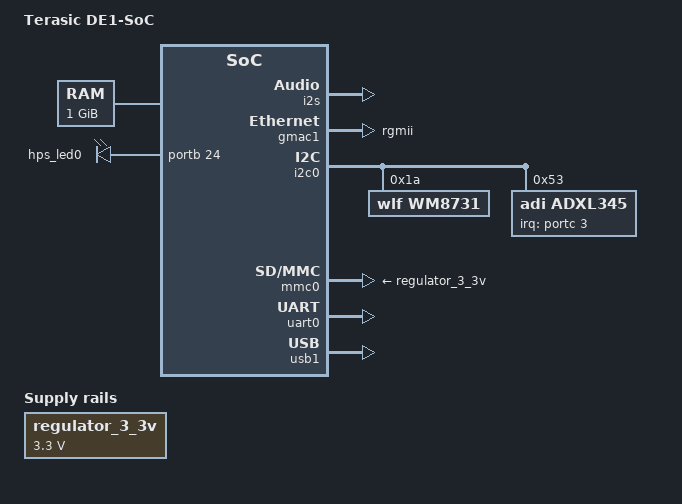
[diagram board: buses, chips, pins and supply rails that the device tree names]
/*
 *  Copyright (C) 2013 Steffen Trumtrar <s.trumtrar@pengutronix.de>
 *  Copyright (C) 2016 Stephen Arnold <nerdboy@gentoo.org>
 *
 * This program is free software; you can redistribute it and/or modify
 * it under the terms of the GNU General Public License as published by
 * the Free Software Foundation; either version 2 of the License, or
 * (at your option) any later version.
 *
 * This program is distributed in the hope that it will be useful,
 * but WITHOUT ANY WARRANTY; without even the implied warranty of
 * MERCHANTABILITY or FITNESS FOR A PARTICULAR PURPOSE.  See the
 * GNU General Public License for more details.
 *
 * You should have received a copy of the GNU General Public License
 * along with this program.  If not, see <http://www.gnu.org/licenses/>.
 */

#include "socfpga_cyclone5.dtsi"
/*#include <dt-bindings/interrupt-controller/irq.h>*/

/ {
	model = "Terasic DE1-SoC";
	compatible = "altr,socfpga-cyclone5", "altr,socfpga";

	chosen {
		bootargs = "earlyprintk";
		stdout-path = "serial0:115200n8";
	};

	memory {
		name = "memory";
		device_type = "memory";
		reg = <0x0 0x40000000>; /* 1GB */
	};

	aliases {
		ethernet0 = &gmac1;
	};

	regulator_3_3v: 3-3-v-regulator {
		compatible = "regulator-fixed";
		regulator-name = "3.3V";
		regulator-min-microvolt = <3300000>;
		regulator-max-microvolt = <3300000>;
	};

	leds {
		compatible = "gpio-leds";
		hps0 {
			label = "hps_led0";
			gpios = <&portb 24 0>;
			linux,default-trigger = "heartbeat";
		};
	};

	sound {
		compatible = "opencores,de1soc-wm8731-audio";
		i2s-controller = <&i2s>;
		audio-codec = <&wm8731>;
		//i2c-mux-gpio = <&portb 19 0>;
	};

	clk48: clk48 {
		compatible = "fixed-clock";
		#clock-cells = <0>;
		clock-frequency  = <24576000>;
		clock-output-names = "clk48";
	};

	clk44: clk44 {
		compatible = "fixed-clock";
		#clock-cells = <0>;
		clock-frequency  = <33868800>;
		clock-output-names = "clk44";
	};

	i2s: i2s@0 {
		#sound-dai-cells = <1>;
		compatible = "opencores,i2s";
		reg = <0xff200000 0x20>, <0xff200020 0x20>, <0xff200040 0x20>;
		clocks = <&clk44>, <&clk48>;
		clock-names = "clk44", "clk48";
		dmas = <&pdma 0>, <&pdma 1>, <&pdma 2>;
		dma-names = "tx", "rx", "rx";
	};
};
/*	vip2@100 {*/
/*		compatible = "altr,vip-frame-reader-1.0", "altr,vip-frame-reader-9.1";*/
/*		reg = <0xff200100 0x180>;*/
/*		max-width = <0x556>;*/
/*		max-height = <0x300>;*/
/*		mem-word-width = <0x80>;*/
/*		bits-per-color = <0x8>;*/
/*	}; */

&gmac1 {
	status = "okay";
	phy-mode = "rgmii";

	txd0-skew-ps = <0>; /* -420ps */
	txd1-skew-ps = <0>; /* -420ps */
	txd2-skew-ps = <0>; /* -420ps */
	txd3-skew-ps = <0>; /* -420ps */
	rxd0-skew-ps = <420>; /* 0ps */
	rxd1-skew-ps = <420>; /* 0ps */
	rxd2-skew-ps = <420>; /* 0ps */
	rxd3-skew-ps = <420>; /* 0ps */
	txen-skew-ps = <0>; /* -420ps */
	txc-skew-ps = <1860>; /* 960ps */
	rxdv-skew-ps = <420>; /* 0ps */
	rxc-skew-ps = <1680>; /* 780ps */

	max-frame-size = <9000>;
};

&gpio0 {
	status = "okay";
};

&gpio1 {
	status = "okay";
};

&gpio2 {
	status = "okay";
};

&i2c0 {
	status = "okay";
	speed-mode = <0>;

	wm8731: wm8731@34 {
		#sound-dai-cells = <0>;
		compatible = "wlf,wm8731";
		reg = <0x1a>;
	};

	adxl345: adxl345@0 {
		compatible = "adi,adxl345";
		reg = <0x53>;

		interrupt-parent = <&portc>;
		interrupts = <3 2>;
	};
};

&mmc0 {
	vmmc-supply = <&regulator_3_3v>;
	vqmmc-supply = <&regulator_3_3v>;
	status = "okay";
};

&uart0 {
	status = "okay";
};

&usb1 {
	status = "okay";
};
